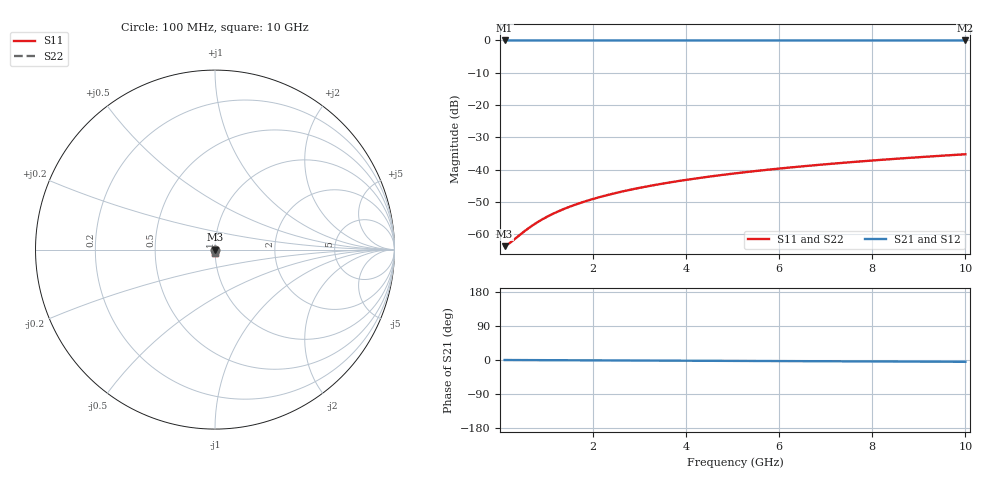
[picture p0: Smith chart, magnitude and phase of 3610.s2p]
# Hz S RI R 50.00
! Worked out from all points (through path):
!   100 points, 100 MHz to 10 GHz, reference 50 ohm
!   highest |S21| = -0.01 dB at 100 MHz (marker M1); lowest = 0.0 dB at 10 GHz (marker M2)
!   lowest |S11| = -63.7 dB at 100 MHz (marker M3), VSWR 1.00, Z = 50.1 - j0.0173 ohm
!   |S11| at or under -10 dB: start of sweep to end of sweep
!   |S22| runs from -63.7 to -35.3 dB; largest |S21 - S12| = 0
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1e8  0.000629 -0.000173  0.9994 -0.000824  0.9994 -0.000824  0.000629 -0.000173
2e8  0.000632 -0.000346  0.9994 -0.00165  0.9994 -0.00165  0.000632 -0.000346
5e8  0.000635 -0.000864  0.9993 -0.00412  0.9993 -0.00412  0.000635 -0.000864
6e8  0.000635 -0.00104  0.9993 -0.00494  0.9993 -0.00494  0.000635 -0.00104
7e8  0.000635 -0.00121  0.9993 -0.00577  0.9993 -0.00577  0.000635 -0.00121
9e8  0.000632 -0.00156  0.9993 -0.00741  0.9993 -0.00741  0.000632 -0.00156
1.1e9  0.000629 -0.0019  0.9993 -0.00906  0.9993 -0.00906  0.000629 -0.0019
1.3e9  0.000623 -0.00225  0.9993 -0.0107  0.9993 -0.0107  0.000623 -0.00225
1.5e9  0.000617 -0.00259  0.9993 -0.0124  0.9993 -0.0124  0.000617 -0.00259
1.8e9  0.000604 -0.00311  0.9992 -0.0148  0.9992 -0.0148  0.000604 -0.00311
2.1e9  0.000589 -0.00363  0.9992 -0.0173  0.9992 -0.0173  0.000589 -0.00363
2.5e9  0.000565 -0.00432  0.9991 -0.0206  0.9991 -0.0206  0.000565 -0.00432
2.9e9  0.000536 -0.00501  0.999 -0.0239  0.999 -0.0239  0.000536 -0.00501
3.4e9  0.000492 -0.00588  0.9989 -0.028  0.9989 -0.028  0.000492 -0.00588
3.8e9  0.000453 -0.00657  0.9988 -0.0313  0.9988 -0.0313  0.000453 -0.00657
4.2e9  0.000408 -0.00726  0.9987 -0.0346  0.9987 -0.0346  0.000408 -0.00726
5.1e9  0.000292 -0.00882  0.9984 -0.042  0.9984 -0.042  0.000292 -0.00882
5.9e9  0.000168 -0.0102  0.998 -0.0486  0.998 -0.0486  0.000168 -0.0102
6.7e9  2.67e-05 -0.0116  0.9977 -0.0552  0.9977 -0.0552  2.67e-05 -0.0116
7.5e9  -0.000133 -0.013  0.9973 -0.0618  0.9973 -0.0618  -0.000133 -0.013
8.4e9  -0.000335 -0.0145  0.9967 -0.0692  0.9967 -0.0692  -0.000335 -0.0145
1e10  -0.00075 -0.0173  0.9957 -0.0824  0.9957 -0.0824  -0.00075 -0.0173
